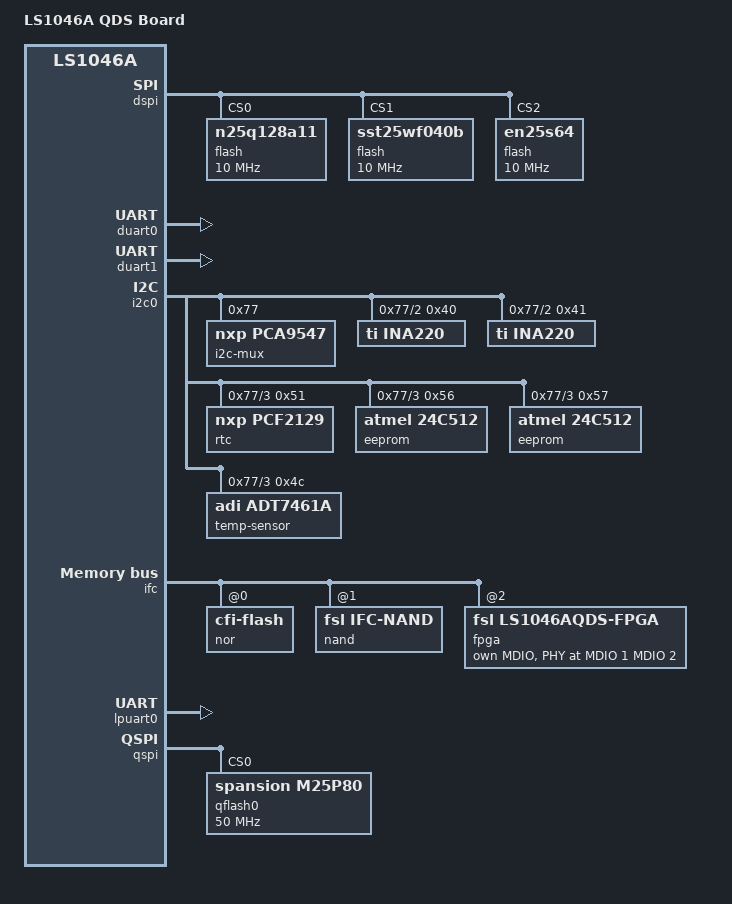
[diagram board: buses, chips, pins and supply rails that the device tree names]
// SPDX-License-Identifier: (GPL-2.0+ OR MIT)
/*
 * Device Tree Include file for Freescale Layerscape-1046A family SoC.
 *
 * Copyright 2016 Freescale Semiconductor, Inc.
 * Copyright 2018-2019 NXP
 *
 * Shaohui Xie <Shaohui.Xie@nxp.com>
 */

/dts-v1/;

#include "fsl-ls1046a.dtsi"

/ {
	model = "LS1046A QDS Board";
	compatible = "fsl,ls1046a-qds", "fsl,ls1046a";

	aliases {
		emi1-slot1 = &ls1046mdio_s1;
		emi1-slot2 = &ls1046mdio_s2;
		emi1-slot4 = &ls1046mdio_s4;
		gpio0 = &gpio0;
		gpio1 = &gpio1;
		gpio2 = &gpio2;
		gpio3 = &gpio3;
		qsgmii-s2-p1 = &qsgmii_phy_s2_p1;
		qsgmii-s2-p2 = &qsgmii_phy_s2_p2;
		qsgmii-s2-p3 = &qsgmii_phy_s2_p3;
		qsgmii-s2-p4 = &qsgmii_phy_s2_p4;
		serial0 = &duart0;
		serial1 = &duart1;
		serial2 = &duart2;
		serial3 = &duart3;
		sgmii-s1-p1 = &sgmii_phy_s1_p1;
		sgmii-s1-p2 = &sgmii_phy_s1_p2;
		sgmii-s1-p3 = &sgmii_phy_s1_p3;
		sgmii-s1-p4 = &sgmii_phy_s1_p4;
		sgmii-s4-p1 = &sgmii_phy_s4_p1;
	};

	chosen {
		stdout-path = "serial0:115200n8";
	};
};

&dspi {
	bus-num = <0>;
	status = "okay";

	flash@0 {
		#address-cells = <1>;
		#size-cells = <1>;
		compatible = "n25q128a11", "jedec,spi-nor";
		reg = <0>;
		spi-max-frequency = <10000000>;
	};

	flash@1 {
		#address-cells = <1>;
		#size-cells = <1>;
		compatible = "sst25wf040b", "jedec,spi-nor";
		spi-cpol;
		spi-cpha;
		reg = <1>;
		spi-max-frequency = <10000000>;
	};

	flash@2 {
		#address-cells = <1>;
		#size-cells = <1>;
		compatible = "en25s64", "jedec,spi-nor";
		spi-cpol;
		spi-cpha;
		reg = <2>;
		spi-max-frequency = <10000000>;
	};
};

&duart0 {
	status = "okay";
};

&duart1 {
	status = "okay";
};

&i2c0 {
	status = "okay";

	i2c-mux@77 {
		compatible = "nxp,pca9547";
		reg = <0x77>;
		#address-cells = <1>;
		#size-cells = <0>;

		i2c@2 {
			#address-cells = <1>;
			#size-cells = <0>;
			reg = <0x2>;

			ina220@40 {
				compatible = "ti,ina220";
				reg = <0x40>;
				shunt-resistor = <1000>;
			};

			ina220@41 {
				compatible = "ti,ina220";
				reg = <0x41>;
				shunt-resistor = <1000>;
			};
		};

		i2c@3 {
			#address-cells = <1>;
			#size-cells = <0>;
			reg = <0x3>;

			rtc@51 {
				compatible = "nxp,pcf2129";
				reg = <0x51>;
				/* IRQ10_B */
				interrupts = <0 150 0x4>;
			};

			eeprom@56 {
				compatible = "atmel,24c512";
				reg = <0x56>;
			};

			eeprom@57 {
				compatible = "atmel,24c512";
				reg = <0x57>;
			};

			temp-sensor@4c {
				compatible = "adi,adt7461a";
				reg = <0x4c>;
			};
		};
	};
};

&ifc {
	#address-cells = <2>;
	#size-cells = <1>;
	/* NOR, NAND Flashes and FPGA on board */
	ranges = <0x0 0x0 0x0 0x60000000 0x08000000
		  0x1 0x0 0x0 0x7e800000 0x00010000
		  0x2 0x0 0x0 0x7fb00000 0x00000100>;
	status = "okay";

	nor@0,0 {
		compatible = "cfi-flash";
		reg = <0x0 0x0 0x8000000>;
		big-endian;
		bank-width = <2>;
		device-width = <1>;
	};

	nand@1,0 {
		compatible = "fsl,ifc-nand";
		reg = <0x1 0x0 0x10000>;
	};

	fpga: board-control@2,0 {
		compatible = "fsl,ls1046aqds-fpga", "fsl,fpga-qixis", "simple-mfd";
		reg = <0x2 0x0 0x0000100>;
		ranges = <0 2 0 0x100>;
	};
};

&lpuart0 {
	status = "okay";
};

&qspi {
	status = "okay";

	qflash0: flash@0 {
		compatible = "spansion,m25p80";
		#address-cells = <1>;
		#size-cells = <1>;
		spi-max-frequency = <50000000>;
		spi-rx-bus-width = <4>;
		spi-tx-bus-width = <4>;
		reg = <0>;
	};
};

#include "fsl-ls1046-post.dtsi"

&fman0 {
	ethernet@e0000 {
		phy-handle = <&qsgmii_phy_s2_p1>;
		phy-connection-type = "sgmii";
	};

	ethernet@e2000 {
		phy-handle = <&sgmii_phy_s4_p1>;
		phy-connection-type = "sgmii";
	};

	ethernet@e4000 {
		phy-handle = <&rgmii_phy1>;
		phy-connection-type = "rgmii";
	};

	ethernet@e6000 {
		phy-handle = <&rgmii_phy2>;
		phy-connection-type = "rgmii";
	};

	ethernet@e8000 {
		phy-handle = <&sgmii_phy_s1_p3>;
		phy-connection-type = "sgmii";
	};

	ethernet@ea000 {
		phy-handle = <&sgmii_phy_s1_p4>;
		phy-connection-type = "sgmii";
	};

	ethernet@f0000 { /* DTSEC9/10GEC1 */
		phy-handle = <&sgmii_phy_s1_p1>;
		phy-connection-type = "xgmii";
	};

	ethernet@f2000 { /* DTSEC10/10GEC2 */
		phy-handle = <&sgmii_phy_s1_p2>;
		phy-connection-type = "xgmii";
	};
};

&fpga {
	#address-cells = <1>;
	#size-cells = <1>;

	mdio-mux-emi1 {
		compatible = "mdio-mux-mmioreg", "mdio-mux";
		mdio-parent-bus = <&mdio0>;
		#address-cells = <1>;
		#size-cells = <0>;
		reg = <0x54 1>;    /* BRDCFG4 */
		mux-mask = <0xe0>; /* EMI1 */

		/* On-board RGMII1 PHY */
		ls1046mdio0: mdio@0 {
			reg = <0>;
			#address-cells = <1>;
			#size-cells = <0>;

			rgmii_phy1: ethernet-phy@1 { /* MAC3 */
				reg = <0x1>;
			};
		};

		/* On-board RGMII2 PHY */
		ls1046mdio1: mdio@1 {
			reg = <0x20>;
			#address-cells = <1>;
			#size-cells = <0>;

			rgmii_phy2: ethernet-phy@2 { /* MAC4 */
				reg = <0x2>;
			};
		};

		/* Slot 1 */
		ls1046mdio_s1: mdio@2 {
			reg = <0x40>;
			#address-cells = <1>;
			#size-cells = <0>;
			status = "disabled";

			sgmii_phy_s1_p1: ethernet-phy@1c {
				reg = <0x1c>;
			};

			sgmii_phy_s1_p2: ethernet-phy@1d {
				reg = <0x1d>;
			};

			sgmii_phy_s1_p3: ethernet-phy@1e {
				reg = <0x1e>;
			};

			sgmii_phy_s1_p4: ethernet-phy@1f {
				reg = <0x1f>;
			};
		};

		/* Slot 2 */
		ls1046mdio_s2: mdio@3 {
			reg = <0x60>;
			#address-cells = <1>;
			#size-cells = <0>;
			status = "disabled";

			qsgmii_phy_s2_p1: ethernet-phy@8 {
				reg = <0x8>;
			};

			qsgmii_phy_s2_p2: ethernet-phy@9 {
				reg = <0x9>;
			};

			qsgmii_phy_s2_p3: ethernet-phy@a {
				reg = <0xa>;
			};

			qsgmii_phy_s2_p4: ethernet-phy@b {
				reg = <0xb>;
			};
		};

		/* Slot 4 */
		ls1046mdio_s4: mdio@5 {
			reg = <0x80>;
			#address-cells = <1>;
			#size-cells = <0>;
			status = "disabled";

			sgmii_phy_s4_p1: ethernet-phy@1c {
				reg = <0x1c>;
			};
		};
	};
};
